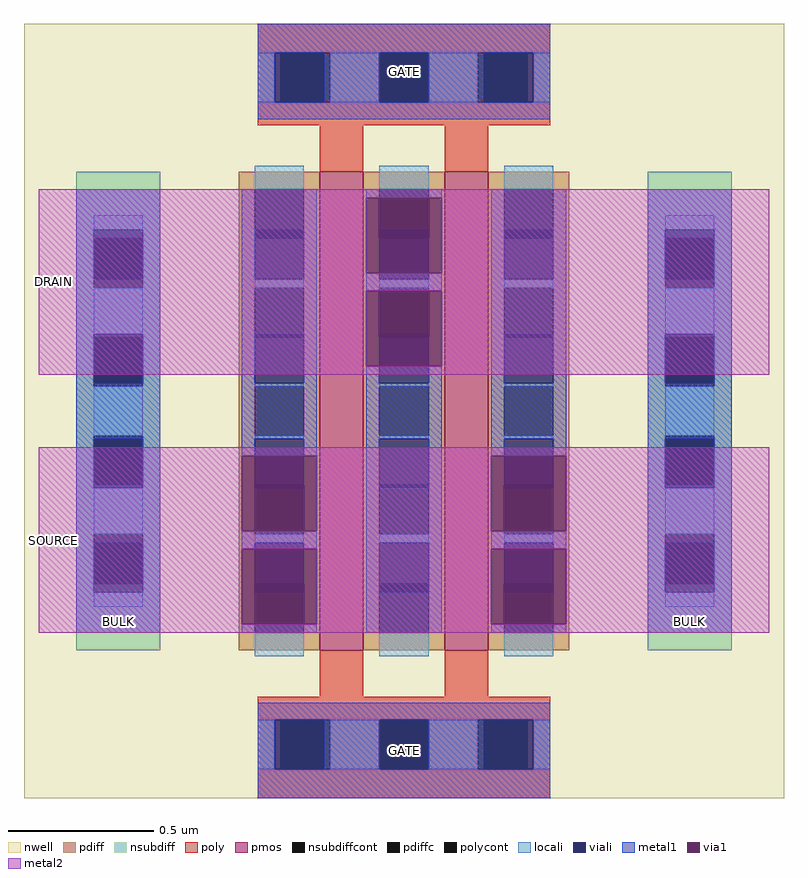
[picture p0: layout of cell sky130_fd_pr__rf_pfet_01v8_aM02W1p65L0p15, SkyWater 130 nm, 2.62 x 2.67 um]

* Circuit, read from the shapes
.subckt sky130_fd_pr__rf_pfet_01v8_aM02W1p65L0p15 BULK DRAIN GATE SOURCE
XM1 DRAIN GATE SOURCE BULK sky130_fd_pr__pfet_01v8 w=1.65 l=0.15 m=2
.ends

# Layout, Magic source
magic
tech sky130A
magscale 1 2
<< nwell >>
rect 0 0 524 534
<< pmos >>
rect 204 102 234 432
rect 290 102 320 432
<< pdiff >>
rect 148 420 204 432
rect 148 386 159 420
rect 193 386 204 420
rect 148 352 204 386
rect 148 318 159 352
rect 193 318 204 352
rect 148 284 204 318
rect 148 250 159 284
rect 193 250 204 284
rect 148 216 204 250
rect 148 182 159 216
rect 193 182 204 216
rect 148 148 204 182
rect 148 114 159 148
rect 193 114 204 148
rect 148 102 204 114
rect 234 420 290 432
rect 234 386 245 420
rect 279 386 290 420
rect 234 352 290 386
rect 234 318 245 352
rect 279 318 290 352
rect 234 284 290 318
rect 234 250 245 284
rect 279 250 290 284
rect 234 216 290 250
rect 234 182 245 216
rect 279 182 290 216
rect 234 148 290 182
rect 234 114 245 148
rect 279 114 290 148
rect 234 102 290 114
rect 320 420 376 432
rect 320 386 331 420
rect 365 386 376 420
rect 320 352 376 386
rect 320 318 331 352
rect 365 318 376 352
rect 320 284 376 318
rect 320 250 331 284
rect 365 250 376 284
rect 320 216 376 250
rect 320 182 331 216
rect 365 182 376 216
rect 320 148 376 182
rect 320 114 331 148
rect 365 114 376 148
rect 320 102 376 114
<< pdiffc >>
rect 159 386 193 420
rect 159 318 193 352
rect 159 250 193 284
rect 159 182 193 216
rect 159 114 193 148
rect 245 386 279 420
rect 245 318 279 352
rect 245 250 279 284
rect 245 182 279 216
rect 245 114 279 148
rect 331 386 365 420
rect 331 318 365 352
rect 331 250 365 284
rect 331 182 365 216
rect 331 114 365 148
<< nsubdiff >>
rect 36 386 94 432
rect 36 352 48 386
rect 82 352 94 386
rect 36 318 94 352
rect 36 284 48 318
rect 82 284 94 318
rect 36 250 94 284
rect 36 216 48 250
rect 82 216 94 250
rect 36 182 94 216
rect 36 148 48 182
rect 82 148 94 182
rect 36 102 94 148
rect 430 386 488 432
rect 430 352 442 386
rect 476 352 488 386
rect 430 318 488 352
rect 430 284 442 318
rect 476 284 488 318
rect 430 250 488 284
rect 430 216 442 250
rect 476 216 488 250
rect 430 182 488 216
rect 430 148 442 182
rect 476 148 488 182
rect 430 102 488 148
<< nsubdiffcont >>
rect 48 352 82 386
rect 48 284 82 318
rect 48 216 82 250
rect 48 148 82 182
rect 442 352 476 386
rect 442 284 476 318
rect 442 216 476 250
rect 442 148 476 182
<< poly >>
rect 161 514 363 534
rect 161 480 177 514
rect 211 480 245 514
rect 279 480 313 514
rect 347 480 363 514
rect 161 464 363 480
rect 204 432 234 464
rect 290 432 320 464
rect 204 70 234 102
rect 290 70 320 102
rect 161 54 363 70
rect 161 20 177 54
rect 211 20 245 54
rect 279 20 313 54
rect 347 20 363 54
rect 161 0 363 20
<< polycont >>
rect 177 480 211 514
rect 245 480 279 514
rect 313 480 347 514
rect 177 20 211 54
rect 245 20 279 54
rect 313 20 347 54
<< locali >>
rect 161 480 173 514
rect 211 480 245 514
rect 279 480 313 514
rect 351 480 363 514
rect 159 420 193 436
rect 48 392 82 402
rect 48 320 82 352
rect 48 250 82 284
rect 48 182 82 214
rect 48 132 82 142
rect 159 352 193 358
rect 159 284 193 286
rect 159 248 193 250
rect 159 176 193 182
rect 159 98 193 114
rect 245 420 279 436
rect 245 352 279 358
rect 245 284 279 286
rect 245 248 279 250
rect 245 176 279 182
rect 245 98 279 114
rect 331 420 365 436
rect 331 352 365 358
rect 331 284 365 286
rect 331 248 365 250
rect 331 176 365 182
rect 442 392 476 402
rect 442 320 476 352
rect 442 250 476 284
rect 442 182 476 214
rect 442 132 476 142
rect 331 98 365 114
rect 161 20 173 54
rect 211 20 245 54
rect 279 20 313 54
rect 351 20 363 54
<< viali >>
rect 173 480 177 514
rect 177 480 207 514
rect 245 480 279 514
rect 317 480 347 514
rect 347 480 351 514
rect 48 386 82 392
rect 48 358 82 386
rect 48 318 82 320
rect 48 286 82 318
rect 48 216 82 248
rect 48 214 82 216
rect 48 148 82 176
rect 48 142 82 148
rect 159 386 193 392
rect 159 358 193 386
rect 159 318 193 320
rect 159 286 193 318
rect 159 216 193 248
rect 159 214 193 216
rect 159 148 193 176
rect 159 142 193 148
rect 245 386 279 392
rect 245 358 279 386
rect 245 318 279 320
rect 245 286 279 318
rect 245 216 279 248
rect 245 214 279 216
rect 245 148 279 176
rect 245 142 279 148
rect 331 386 365 392
rect 331 358 365 386
rect 331 318 365 320
rect 331 286 365 318
rect 331 216 365 248
rect 331 214 365 216
rect 331 148 365 176
rect 331 142 365 148
rect 442 386 476 392
rect 442 358 476 386
rect 442 318 476 320
rect 442 286 476 318
rect 442 216 476 248
rect 442 214 476 216
rect 442 148 476 176
rect 442 142 476 148
rect 173 20 177 54
rect 177 20 207 54
rect 245 20 279 54
rect 317 20 347 54
rect 347 20 351 54
<< metal1 >>
rect 161 514 363 534
rect 161 480 173 514
rect 207 480 245 514
rect 279 480 317 514
rect 351 480 363 514
rect 161 468 363 480
rect 36 392 94 420
rect 36 358 48 392
rect 82 358 94 392
rect 36 320 94 358
rect 36 286 48 320
rect 82 286 94 320
rect 36 248 94 286
rect 36 214 48 248
rect 82 214 94 248
rect 36 176 94 214
rect 36 142 48 176
rect 82 142 94 176
rect 36 114 94 142
rect 150 392 202 420
rect 150 358 159 392
rect 193 358 202 392
rect 150 320 202 358
rect 150 286 159 320
rect 193 286 202 320
rect 150 248 202 286
rect 150 236 159 248
rect 193 236 202 248
rect 150 176 202 184
rect 150 172 159 176
rect 193 172 202 176
rect 150 114 202 120
rect 236 414 288 420
rect 236 358 245 362
rect 279 358 288 362
rect 236 350 288 358
rect 236 286 245 298
rect 279 286 288 298
rect 236 248 288 286
rect 236 214 245 248
rect 279 214 288 248
rect 236 176 288 214
rect 236 142 245 176
rect 279 142 288 176
rect 236 114 288 142
rect 322 392 374 420
rect 322 358 331 392
rect 365 358 374 392
rect 322 320 374 358
rect 322 286 331 320
rect 365 286 374 320
rect 322 248 374 286
rect 322 236 331 248
rect 365 236 374 248
rect 322 176 374 184
rect 322 172 331 176
rect 365 172 374 176
rect 322 114 374 120
rect 430 392 488 420
rect 430 358 442 392
rect 476 358 488 392
rect 430 320 488 358
rect 430 286 442 320
rect 476 286 488 320
rect 430 248 488 286
rect 430 214 442 248
rect 476 214 488 248
rect 430 176 488 214
rect 430 142 442 176
rect 476 142 488 176
rect 430 114 488 142
rect 161 54 363 66
rect 161 20 173 54
rect 207 20 245 54
rect 279 20 317 54
rect 351 20 363 54
rect 161 0 363 20
<< via1 >>
rect 150 214 159 236
rect 159 214 193 236
rect 193 214 202 236
rect 150 184 202 214
rect 150 142 159 172
rect 159 142 193 172
rect 193 142 202 172
rect 150 120 202 142
rect 236 392 288 414
rect 236 362 245 392
rect 245 362 279 392
rect 279 362 288 392
rect 236 320 288 350
rect 236 298 245 320
rect 245 298 279 320
rect 279 298 288 320
rect 322 214 331 236
rect 331 214 365 236
rect 365 214 374 236
rect 322 184 374 214
rect 322 142 331 172
rect 331 142 365 172
rect 365 142 374 172
rect 322 120 374 142
<< metal2 >>
rect 10 414 514 420
rect 10 362 236 414
rect 288 362 514 414
rect 10 350 514 362
rect 10 298 236 350
rect 288 298 514 350
rect 10 292 514 298
rect 10 236 514 242
rect 10 184 150 236
rect 202 184 322 236
rect 374 184 514 236
rect 10 172 514 184
rect 10 120 150 172
rect 202 120 322 172
rect 374 120 514 172
rect 10 114 514 120
<< labels >>
flabel metal2 s 10 292 30 420 7 FreeSans 300 180 0 0 DRAIN
port 2 nsew
flabel metal2 s 10 114 30 242 7 FreeSans 300 180 0 0 SOURCE
port 4 nsew
flabel metal1 s 161 0 363 66 0 FreeSans 300 0 0 0 GATE
port 3 nsew
flabel metal1 s 161 468 363 534 0 FreeSans 300 0 0 0 GATE
port 3 nsew
flabel metal1 s 430 114 488 130 3 FreeSans 300 90 0 0 BULK
port 1 nsew
flabel metal1 s 36 114 94 130 3 FreeSans 300 90 0 0 BULK
port 1 nsew
<< properties >>
string GDS_FILE $PDKPATH/libs.ref/sky130_fd_pr/gds/sky130_fd_pr.gds
string GDS_END 9309424
string GDS_START 9301772
<< end >>
